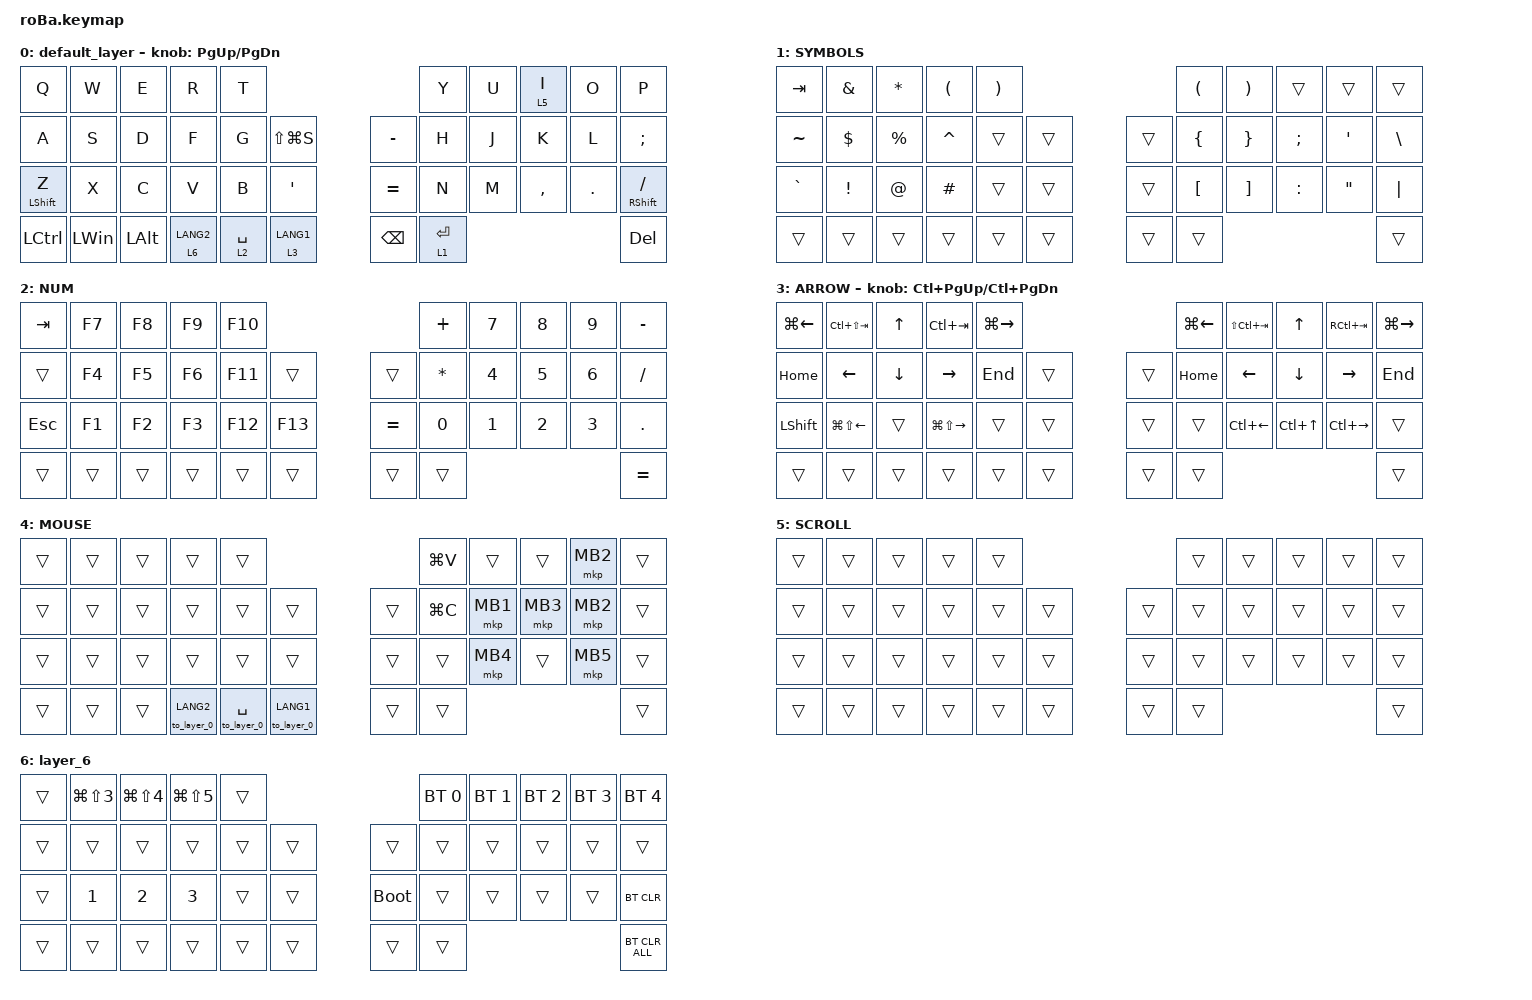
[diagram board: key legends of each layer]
#include <behaviors.dtsi>
#include <input/processors.dtsi>
#include <dt-bindings/zmk/bt.h>
#include <dt-bindings/zmk/keys.h>
#include <dt-bindings/zmk/pointing.h>

&mt {
    flavor = "balanced";
    quick-tap-ms = <0>;
};

&trackball {
    // automouse-layer = <4>;
    scroll-layers = <5>;

    // arrows {
    //     layers = <3>;
    //     bindings =
    //         <&kp RIGHT_ARROW>,
    //         <&kp LEFT_ARROW>,
    //         <&kp UP_ARROW>,
    //         <&kp DOWN_ARROW>;
    //     tick = <10>;
    //     wait-ms = <5>;
    //     tap-ms = <5>;
    // };
};

&zip_temp_layer {
    require-prior-idle-ms = <300>;
};

/ {
    trackball_listener: trackball_listener {
        compatible = "zmk,input-listener";
        device = <&trackball>;
        input-processors = <&zip_temp_layer 4 3000>;
        };

     mkp_input_listener {
        compatible = "zmk,input-listener";
        device = <&mkp>;
        input-processors = <&zip_temp_layer 4 3000>;
    };

    combos {
        compatible = "zmk,combos";

        tab {
            bindings = <&kp TAB>;
            key-positions = <11 12>;
        };

        shift_tab {
            bindings = <&kp LS(TAB)>;
            key-positions = <12 13>;
        };

        muhennkann {
            bindings = <&to_layer_0 INT_MUHENKAN>;
            key-positions = <11 10>;
        };

        double_quotation {
            bindings = <&kp DOUBLE_QUOTES>;
            key-positions = <20 21>;
        };

        eq {
            bindings = <&kp EQUAL>;
            key-positions = <24 25>;
        };
    };

    macros {
        to_layer_0: to_layer_0 {
            compatible = "zmk,behavior-macro-one-param";
            #binding-cells = <1>;
            bindings = <&to 0 &macro_param_1to1 &kp MACRO_PLACEHOLDER>;
            label = "TO_LAYER_0";
        };
    };

    behaviors {
        lt_to_layer_0: lt_to_layer_0 {
            compatible = "zmk,behavior-hold-tap";
            label = "LAYER_TAP_TO_0";
            bindings = <&mo>, <&to_layer_0>;

            #binding-cells = <2>;
            tapping-term-ms = <200>;
        };
    };

    keymap {
        compatible = "zmk,keymap";

        default_layer {
            bindings = <
&kp Q             &kp W         &kp E         &kp R                   &kp T                                                   &kp Y        &kp U  &lt 5 I    &kp O    &kp P
&kp A             &kp S         &kp D         &kp F                   &kp G        &kp LS(LG(S))               &kp MINUS      &kp H        &kp J  &kp K      &kp L    &kp SEMI
&mt LEFT_SHIFT Z  &kp X         &kp C         &kp V                   &kp B        &kp APOS                    &kp EQUAL      &kp N        &kp M  &kp COMMA  &kp DOT  &mt RSHFT SLASH
&kp LCTRL         &kp LEFT_WIN  &kp LEFT_ALT  &lt_to_layer_0 6 LANG2  &lt 2 SPACE  &lt_to_layer_0 3 LANG1      &kp BACKSPACE  &lt 1 ENTER                             &kp DEL
            >;

            sensor-bindings = <&inc_dec_kp PG_UP PAGE_DOWN>;
        };

        SYMBOLS {
            bindings = <
&kp TAB    &kp AMPERSAND    &kp ASTERISK  &kp LEFT_PARENTHESIS  &kp RIGHT_PARENTHESIS                      &kp LEFT_PARENTHESIS  &kp RIGHT_PARENTHESIS  &trans         &trans             &trans
&kp TILDE  &kp DOLLAR       &kp PERCENT   &kp CARET             &trans                 &trans      &trans  &kp LEFT_BRACE        &kp RIGHT_BRACE        &kp SEMICOLON  &kp SQT            &kp BACKSLASH
&kp GRAVE  &kp EXCLAMATION  &kp AT        &kp HASH              &trans                 &trans      &trans  &kp LEFT_BRACKET      &kp RIGHT_BRACKET      &kp COLON      &kp DOUBLE_QUOTES  &kp PIPE
&trans     &trans           &trans        &trans                &trans                 &trans      &trans  &trans                                                                         &trans
            >;
        };

        NUM {
            bindings = <
&kp TAB     &kp F7  &kp F8  &kp F9  &kp F10                          &kp PLUS      &kp NUMBER_7  &kp NUMBER_8  &kp NUMBER_9  &kp MINUS
&trans      &kp F4  &kp F5  &kp F6  &kp F11  &trans       &trans     &kp ASTERISK  &kp NUMBER_4  &kp NUMBER_5  &kp NUMBER_6  &kp SLASH
&kp ESCAPE  &kp F1  &kp F2  &kp F3  &kp F12  &kp F13      &kp EQUAL  &kp N0        &kp NUMBER_1  &kp NUMBER_2  &kp NUMBER_3  &kp PERIOD
&trans      &trans  &trans  &trans  &trans   &trans       &trans     &trans                                                  &kp EQUAL
            >;
        };

        ARROW {
            bindings = <
&kp LG(LEFT)    &kp LC(LS(TAB))         &kp UP_ARROW    &kp LC(TAB)              &kp LG(RIGHT_ARROW)                      &kp LG(LEFT_ARROW)  &kp LS(LC(TAB))     &kp UP_ARROW      &kp RC(TAB)      &kp LG(RIGHT_ARROW)
&kp HOME        &kp LEFT_ARROW          &kp DOWN_ARROW  &kp RIGHT_ARROW          &kp END              &trans      &trans  &kp HOME            &kp LEFT_ARROW      &kp DOWN_ARROW    &kp RIGHT_ARROW  &kp END
&kp LEFT_SHIFT  &kp LG(LS(LEFT_ARROW))  &trans          &kp LG(LS(RIGHT_ARROW))  &trans               &trans      &trans  &trans              &kp LC(LEFT_ARROW)  &kp LC(UP_ARROW)  &kp LC(RIGHT)    &trans
&trans          &trans                  &trans          &trans                   &trans               &trans      &trans  &trans                                                                     &trans
            >;

            sensor-bindings = <&inc_dec_kp LC(PAGE_UP) LC(PAGE_DOWN)>;
        };

        MOUSE {
            bindings = <
&trans  &trans  &trans  &trans             &trans                                            &kp LG(V)  &trans    &trans    &mkp MB2  &trans
&trans  &trans  &trans  &trans             &trans             &trans                 &trans  &kp LG(C)  &mkp MB1  &mkp MB3  &mkp MB2  &trans
&trans  &trans  &trans  &trans             &trans             &trans                 &trans  &trans     &mkp MB4  &trans    &mkp MB5  &trans
&trans  &trans  &trans  &to_layer_0 LANG2  &to_layer_0 SPACE  &to_layer_0 LANG1      &trans  &trans                                   &trans
            >;
        };

        SCROLL {
            bindings = <
&trans  &trans  &trans  &trans  &trans                      &trans  &trans  &trans  &trans  &trans
&trans  &trans  &trans  &trans  &trans  &trans      &trans  &trans  &trans  &trans  &trans  &trans
&trans  &trans  &trans  &trans  &trans  &trans      &trans  &trans  &trans  &trans  &trans  &trans
&trans  &trans  &trans  &trans  &trans  &trans      &trans  &trans                          &trans
            >;
        };

        layer_6 {
            bindings = <
&trans  &kp LG(LS(NUMBER_3))  &kp LG(LS(NUMBER_4))  &kp LG(LS(NUMBER_5))  &trans                           &bt BT_SEL 0  &bt BT_SEL 1  &bt BT_SEL 2  &bt BT_SEL 3  &bt BT_SEL 4
&trans  &trans                &trans                &trans                &trans  &trans      &trans       &trans        &trans        &trans        &trans        &trans
&trans  &kp NUMBER_1          &kp NUMBER_2          &kp NUMBER_3          &trans  &trans      &bootloader  &trans        &trans        &trans        &trans        &bt BT_CLR
&trans  &trans                &trans                &trans                &trans  &trans      &trans       &trans                                                  &bt BT_CLR_ALL
            >;
        };
    };
};
